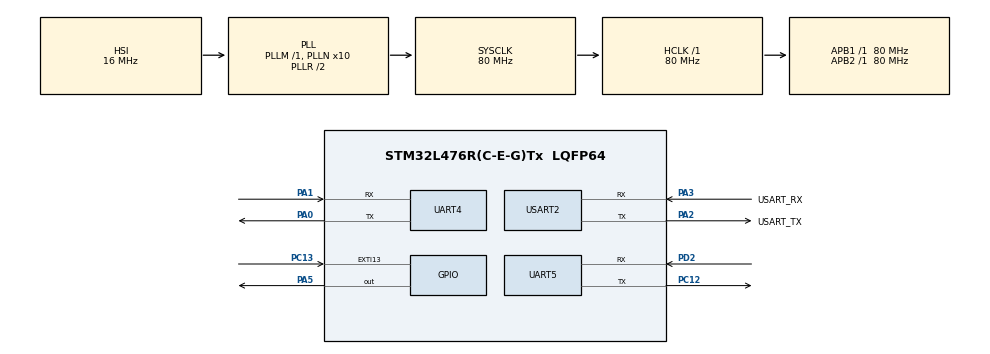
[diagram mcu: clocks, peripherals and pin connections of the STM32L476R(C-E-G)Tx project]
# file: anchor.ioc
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Dma.Request0=UART4_RX
Dma.Request1=UART5_RX
Dma.UART4_RX.0.Direction=DMA_PERIPH_TO_MEMORY
Dma.UART4_RX.0.Instance=DMA2_Channel5
Dma.UART4_RX.0.MemDataAlignment=DMA_MDATAALIGN_BYTE
Dma.UART4_RX.0.MemInc=DMA_MINC_ENABLE
Dma.UART4_RX.0.Mode=DMA_NORMAL
Dma.UART4_RX.0.PeriphDataAlignment=DMA_PDATAALIGN_BYTE
Dma.UART4_RX.0.PeriphInc=DMA_PINC_DISABLE
Dma.UART4_RX.0.Priority=DMA_PRIORITY_LOW
Dma.UART5_RX.1.Direction=DMA_PERIPH_TO_MEMORY
Dma.UART5_RX.1.Instance=DMA2_Channel2
Dma.UART5_RX.1.MemDataAlignment=DMA_MDATAALIGN_BYTE
Dma.UART5_RX.1.MemInc=DMA_MINC_ENABLE
Dma.UART5_RX.1.Mode=DMA_NORMAL
Dma.UART5_RX.1.PeriphDataAlignment=DMA_PDATAALIGN_BYTE
Dma.UART5_RX.1.PeriphInc=DMA_PINC_DISABLE
Dma.UART5_RX.1.Priority=DMA_PRIORITY_LOW
Mcu.Family=STM32L4
Mcu.Name=STM32L476R(C-E-G)Tx
Mcu.Package=LQFP64
NUCLEO-L476RG.BUTTON=1
NUCLEO-L476RG.LD2=true
NVIC.DMA2_Channel2_IRQn=true\:0\:0\:false\:false\:true\:false\:true\:true
NVIC.DMA2_Channel5_IRQn=true\:0\:0\:false\:false\:true\:false\:true\:true
NVIC.EXTI15_10_IRQn=true\:0\:0\:false\:false\:true\:false\:true\:true
NVIC.PriorityGroup=NVIC_PRIORITYGROUP_4
NVIC.UART4_IRQn=true\:0\:0\:false\:false\:true\:false\:true\:true
NVIC.UART5_IRQn=true\:0\:0\:false\:false\:true\:false\:true\:true
PA0.Mode=Asynchronous
PA0.Signal=UART4_TX
PA1.Mode=Asynchronous
PA1.Signal=UART4_RX
PA13\ (JTMS-SWDIO).GPIO_Label=TMS
PA13\ (JTMS-SWDIO).Signal=SYS_JTMS-SWDIO
PA14\ (JTCK-SWCLK).GPIO_Label=TCK
PA14\ (JTCK-SWCLK).Signal=SYS_JTCK-SWCLK
PA2.GPIO_Label=USART_TX
PA2.GPIO_Mode=GPIO_MODE_AF_PP
PA2.GPIO_PuPd=GPIO_NOPULL
PA2.GPIO_Speed=GPIO_SPEED_FREQ_VERY_HIGH
PA2.Mode=Asynchronous
PA2.Signal=USART2_TX
PA3.GPIO_Label=USART_RX
PA3.GPIO_Mode=GPIO_MODE_AF_PP
PA3.GPIO_PuPd=GPIO_NOPULL
PA3.GPIO_Speed=GPIO_SPEED_FREQ_VERY_HIGH
PA3.Mode=Asynchronous
PA3.Signal=USART2_RX
PA5.Signal=GPIO_Output
PB3\ (JTDO-TRACESWO).GPIO_Label=SWO
PB3\ (JTDO-TRACESWO).Signal=SYS_JTDO-SWO
PC12.Mode=Asynchronous
PC12.Signal=UART5_TX
PC13.Signal=GPXTI13
PC14-OSC32_IN\ (PC14).Signal=RCC_OSC32_IN
PC15-OSC32_OUT\ (PC15).Signal=RCC_OSC32_OUT
PD2.Mode=Asynchronous
PD2.Signal=UART5_RX
PH0-OSC_IN\ (PH0).Signal=RCC_OSC_IN
PH1-OSC_OUT\ (PH1).Signal=RCC_OSC_OUT
ProjectManager.HeapSize=0x200
ProjectManager.StackSize=0x400
ProjectManager.TargetToolchain=CMake
RCC.ADCFreq_Value=64000000
RCC.AHBFreq_Value=80000000
RCC.APB1Freq_Value=80000000
RCC.APB1TimFreq_Value=80000000
RCC.APB2Freq_Value=80000000
RCC.APB2TimFreq_Value=80000000
RCC.CortexFreq_Value=80000000
RCC.HCLKFreq_Value=80000000
RCC.HSE_VALUE=8000000
RCC.HSI_VALUE=16000000
RCC.LSE_VALUE=32768
RCC.MSI_VALUE=4000000
RCC.PLLN=10
RCC.PLLSourceVirtual=RCC_PLLSOURCE_HSI
RCC.PREFETCH_ENABLE=1
RCC.SYSCLKFreq_VALUE=80000000
RCC.SYSCLKSource=RCC_SYSCLKSOURCE_PLLCLK
RCC.USBFreq_Value=64000000
RCC.VCOOutputFreq_Value=160000000
USART2.VirtualMode-Asynchronous=VM_ASYNC
VP_NUCLEO-L476RG_VS_BSP_COMMON.Mode=COMMON
board=NUCLEO-L476RG

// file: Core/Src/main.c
/* USER CODE BEGIN Header */
/**
 ******************************************************************************
 * @file           : main.c
 * @brief          : Main program body
 ******************************************************************************
 * @attention
 *
 * Copyright (c) 2026 STMicroelectronics.
 * All rights reserved.
 *
 * This software is licensed under terms that can be found in the LICENSE file
 * in the root directory of this software component.
 * If no LICENSE file comes with this software, it is provided AS-IS.
 *
 ******************************************************************************
 */
/* USER CODE END Header */
#include "main.h"

/* USER CODE BEGIN Includes */
#include <stdint.h>
/* USER CODE END Includes */

UART_HandleTypeDef huart4;
UART_HandleTypeDef huart5;
UART_HandleTypeDef huart2;
DMA_HandleTypeDef hdma_uart4_rx;
DMA_HandleTypeDef hdma_uart5_rx;

/* USER CODE BEGIN PV */

static uint8_t bridge_uart4_rx_buffer[128];
static uint8_t bridge_uart5_rx_buffer[128];

static const char BRIDGE_TAG_UART4[] = "[ANCHOR-BP] ";
static const char BRIDGE_TAG_UART5[] = "[BEACON] ";

/* USER CODE END PV */

void SystemClock_Config(void);
static void MX_GPIO_Init(void);
static void MX_DMA_Init(void);
static void MX_USART2_UART_Init(void);
static void MX_UART4_Init(void);
static void MX_UART5_Init(void);

int main(void)
{

  /* MCU Configuration--------------------------------------------------------*/

  /* Reset of all peripherals, Initializes the Flash interface and the Systick. */
  HAL_Init();

  /* Configure the system clock */
  SystemClock_Config();

  /* Initialize all configured peripherals */
  MX_GPIO_Init();
  MX_DMA_Init();
  MX_USART2_UART_Init();
  MX_UART4_Init();
  MX_UART5_Init();
  /* USER CODE BEGIN 2 */

  HAL_UARTEx_ReceiveToIdle_DMA(&huart4, bridge_uart4_rx_buffer, sizeof(bridge_uart4_rx_buffer));
  HAL_UARTEx_ReceiveToIdle_DMA(&huart5, bridge_uart5_rx_buffer, sizeof(bridge_uart5_rx_buffer));
  /* USER CODE END 2 */

  /* Initialize leds */
  BSP_LED_Init(LED_GREEN);

  /* Initialize USER push-button, will be used to trigger an interrupt each time it's pressed.*/
  BSP_PB_Init(BUTTON_USER, BUTTON_MODE_EXTI);

  /* Infinite loop */
  /* USER CODE BEGIN WHILE */
  BSP_LED_On(LED_GREEN);
  while (1) {
    /* USER CODE END WHILE */

  }
}

void SystemClock_Config(void)
{
  RCC_OscInitTypeDef RCC_OscInitStruct = {0};
  RCC_ClkInitTypeDef RCC_ClkInitStruct = {0};

  /** Configure the main internal regulator output voltage
  */
  if (HAL_PWREx_ControlVoltageScaling(PWR_REGULATOR_VOLTAGE_SCALE1) != HAL_OK)
  {
    Error_Handler();
  }

  /** Initializes the RCC Oscillators according to the specified parameters
  * in the RCC_OscInitTypeDef structure.
  */
  RCC_OscInitStruct.OscillatorType = RCC_OSCILLATORTYPE_HSI;
  RCC_OscInitStruct.HSIState = RCC_HSI_ON;
  RCC_OscInitStruct.HSICalibrationValue = RCC_HSICALIBRATION_DEFAULT;
  RCC_OscInitStruct.PLL.PLLState = RCC_PLL_ON;
  RCC_OscInitStruct.PLL.PLLSource = RCC_PLLSOURCE_HSI;
  RCC_OscInitStruct.PLL.PLLM = 1;
  RCC_OscInitStruct.PLL.PLLN = 10;
  RCC_OscInitStruct.PLL.PLLP = RCC_PLLP_DIV7;
  RCC_OscInitStruct.PLL.PLLQ = RCC_PLLQ_DIV2;
  RCC_OscInitStruct.PLL.PLLR = RCC_PLLR_DIV2;
  if (HAL_RCC_OscConfig(&RCC_OscInitStruct) != HAL_OK)
  {
    Error_Handler();
  }

  /** Initializes the CPU, AHB and APB buses clocks
  */
  RCC_ClkInitStruct.ClockType = RCC_CLOCKTYPE_HCLK|RCC_CLOCKTYPE_SYSCLK
                              |RCC_CLOCKTYPE_PCLK1|RCC_CLOCKTYPE_PCLK2;
  RCC_ClkInitStruct.SYSCLKSource = RCC_SYSCLKSOURCE_PLLCLK;
  RCC_ClkInitStruct.AHBCLKDivider = RCC_SYSCLK_DIV1;
  RCC_ClkInitStruct.APB1CLKDivider = RCC_HCLK_DIV1;
  RCC_ClkInitStruct.APB2CLKDivider = RCC_HCLK_DIV1;

  if (HAL_RCC_ClockConfig(&RCC_ClkInitStruct, FLASH_LATENCY_4) != HAL_OK)
  {
    Error_Handler();
  }
}

static void MX_UART4_Init(void)
{

  huart4.Instance = UART4;
  huart4.Init.BaudRate = 115200;
  huart4.Init.WordLength = UART_WORDLENGTH_8B;
  huart4.Init.StopBits = UART_STOPBITS_1;
  huart4.Init.Parity = UART_PARITY_NONE;
  huart4.Init.Mode = UART_MODE_TX_RX;
  huart4.Init.HwFlowCtl = UART_HWCONTROL_NONE;
  huart4.Init.OverSampling = UART_OVERSAMPLING_16;
  huart4.Init.OneBitSampling = UART_ONE_BIT_SAMPLE_DISABLE;
  huart4.AdvancedInit.AdvFeatureInit = UART_ADVFEATURE_NO_INIT;
  if (HAL_UART_Init(&huart4) != HAL_OK)
  {
    Error_Handler();
  }

}

static void MX_UART5_Init(void)
{

  huart5.Instance = UART5;
  huart5.Init.BaudRate = 115200;
  huart5.Init.WordLength = UART_WORDLENGTH_8B;
  huart5.Init.StopBits = UART_STOPBITS_1;
  huart5.Init.Parity = UART_PARITY_NONE;
  huart5.Init.Mode = UART_MODE_TX_RX;
  huart5.Init.HwFlowCtl = UART_HWCONTROL_NONE;
  huart5.Init.OverSampling = UART_OVERSAMPLING_16;
  huart5.Init.OneBitSampling = UART_ONE_BIT_SAMPLE_DISABLE;
  huart5.AdvancedInit.AdvFeatureInit = UART_ADVFEATURE_NO_INIT;
  if (HAL_UART_Init(&huart5) != HAL_OK)
  {
    Error_Handler();
  }

}

static void MX_USART2_UART_Init(void)
{

  huart2.Instance = USART2;
  huart2.Init.BaudRate = 115200;
  huart2.Init.WordLength = UART_WORDLENGTH_8B;
  huart2.Init.StopBits = UART_STOPBITS_1;
  huart2.Init.Parity = UART_PARITY_NONE;
  huart2.Init.Mode = UART_MODE_TX_RX;
  huart2.Init.HwFlowCtl = UART_HWCONTROL_NONE;
  huart2.Init.OverSampling = UART_OVERSAMPLING_16;
  huart2.Init.OneBitSampling = UART_ONE_BIT_SAMPLE_DISABLE;
  huart2.AdvancedInit.AdvFeatureInit = UART_ADVFEATURE_NO_INIT;
  if (HAL_UART_Init(&huart2) != HAL_OK)
  {
    Error_Handler();
  }

}

static void MX_DMA_Init(void)
{

  /* DMA controller clock enable */
  __HAL_RCC_DMA2_CLK_ENABLE();

  /* DMA interrupt init */
  /* DMA2_Channel2_IRQn interrupt configuration */
  HAL_NVIC_SetPriority(DMA2_Channel2_IRQn, 0, 0);
  HAL_NVIC_EnableIRQ(DMA2_Channel2_IRQn);
  /* DMA2_Channel5_IRQn interrupt configuration */
  HAL_NVIC_SetPriority(DMA2_Channel5_IRQn, 0, 0);
  HAL_NVIC_EnableIRQ(DMA2_Channel5_IRQn);

}

static void MX_GPIO_Init(void)
{

  /* GPIO Ports Clock Enable */
  __HAL_RCC_GPIOC_CLK_ENABLE();
  __HAL_RCC_GPIOH_CLK_ENABLE();
  __HAL_RCC_GPIOA_CLK_ENABLE();
  __HAL_RCC_GPIOD_CLK_ENABLE();
  __HAL_RCC_GPIOB_CLK_ENABLE();

}

/* USER CODE BEGIN 4 */

int __io_putchar(int ch)
{
  uint8_t c = (uint8_t)ch;
  HAL_UART_Transmit(&huart2, &c, 1, HAL_MAX_DELAY);
  return ch;
}

void HAL_UARTEx_RxEventCallback(UART_HandleTypeDef* huart, uint16_t Size)
{
  if (huart == &huart4) {
    HAL_UART_Transmit(&huart2, (const uint8_t*)BRIDGE_TAG_UART4, sizeof(BRIDGE_TAG_UART4) - 1, HAL_MAX_DELAY);
    HAL_UART_Transmit(&huart2, bridge_uart4_rx_buffer, Size, HAL_MAX_DELAY);
    HAL_UARTEx_ReceiveToIdle_DMA(&huart4, bridge_uart4_rx_buffer, sizeof(bridge_uart4_rx_buffer));
  } else if (huart == &huart5) {
    HAL_UART_Transmit(&huart2, (const uint8_t*)BRIDGE_TAG_UART5, sizeof(BRIDGE_TAG_UART5) - 1, HAL_MAX_DELAY);
    HAL_UART_Transmit(&huart2, bridge_uart5_rx_buffer, Size, HAL_MAX_DELAY);
    HAL_UARTEx_ReceiveToIdle_DMA(&huart5, bridge_uart5_rx_buffer, sizeof(bridge_uart5_rx_buffer));
  }
}

/* USER CODE END 4 */

void Error_Handler(void)
{
  __disable_irq();
  while (1) {
  }
}
